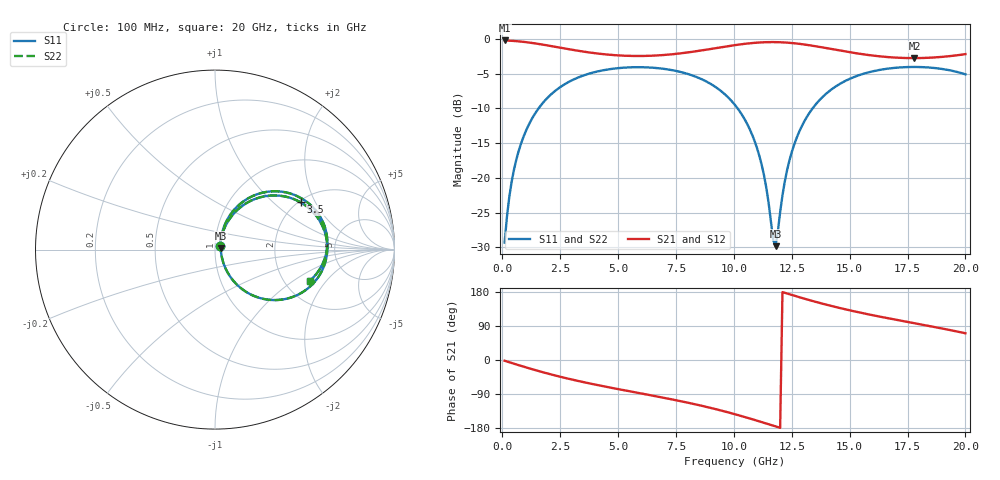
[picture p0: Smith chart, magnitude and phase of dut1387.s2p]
! Touchstone file exported from HFSS 2026.1.0
!  File:  C:/ffzhzh/LocalFiles/Ansys_Project_Files/temp_train_TSV_RDL_1387_1783349194_4416.aedt
!  Generated:  10:59:31 PM Jul  6, 2026
!  Design:  TSV_RDL
!  Project:  temp_train_TSV_RDL_1387_1783349194_4416
! Variables:
!  h_bsmrdl = 3.89um
!  h_ox = 20um
!  h_rdl = 5um
!  h_sub = 70.39um
!  h_tmrdl = 4.61um
!  h_tsv = 70.39um
!  h_via = 3um
!  l_bsmrdl = 173.4um
!  l_sub = 4987.08um
!  l_tmrdl = 997.16um
!  m_sub = 200um
!  pitch = 54.25um
!  r_tsv = 13.09um
!  s_tmrdl = 10um
!  w_bsmrdl = 11.43um
!  w_sub = 500um
!  w_tmrdl = 14.65um
!  x_tsv_center1 = 1004.485um
!  x_tsv_center2 = 1189.315um
!  x_tsv_center3 = 2201.125um
!  x_tsv_center4 = 2385.955um
!  x_tsv_center5 = 3397.765um
!  x_tsv_center6 = 3582.595um
# GHz S MA R 50.000000
! Terminal data exported
! Port[1] = TM_RDL1_1_T1
! Port[2] = TM_RDL5_1_T1
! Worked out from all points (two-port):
!   200 points, 100 MHz to 20 GHz, reference 50 ohm
!   highest |S21| = -0.23 dB at 100 MHz (marker M1); lowest = -2.8 dB at 17.8 GHz (marker M2)
!   |S21| within 3 dB of the highest: start of sweep to end of sweep
!   lowest |S11| = -29.8 dB at 11.8 GHz (marker M3), VSWR 1.07, Z = 53.3 + j0.708 ohm
!   |S11| at or under -10 dB: start of sweep to 1.568 GHz; 10.16 GHz to 13.4 GHz (3.239 GHz wide, 27.5 % of centre)
!   |S22| runs from -29.8 to -4.0 dB; largest |S21 - S12| = 1.6e-14
!   S11 on the Smith chart (normalised r, x): 100 MHz: 1.05, +0.05; 3.5 GHz: 2.05, +1.54; 20 GHz: 2.73, -1.37
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0.1  0.03426 39.9  0.9742 -2.0  0.9742 -2.0  0.03426 39.9
! Gamma 0 0 0 0
! Port Impedance 50 0 50 0
0.3  0.07247 62.5  0.971 -5.9  0.971 -5.9  0.07247 62.5
0.5  0.1137 66.2  0.9662 -9.7  0.9662 -9.7  0.1137 66.2
1.1  0.233 62.0  0.9439 -20.9  0.9439 -20.9  0.233 62.0
2.1  0.398 47.9  0.8884 -38.0  0.8884 -38.0  0.398 47.9
3.5  0.545 28.9  0.8101 -58.3  0.8101 -58.3  0.545 28.9
5.1  0.618 10.0  0.7591 -78.0  0.7591 -78.0  0.618 10.0
6.8  0.6139 -8.8  0.762 -97.6  0.762 -97.6  0.6139 -8.8
8.7  0.5046 -31.7  0.8306 -122.0  0.8306 -122.0  0.5047 -31.6
10.1  0.3264 -50.9  0.9044 -144.0  0.9044 -144.0  0.3264 -50.9
11.1  0.1444 -61.2  0.9419 -161.9  0.9419 -161.9  0.1444 -61.1
11.4  0.08539 -57.5  0.9469 -167.6  0.9469 -167.6  0.08545 -57.4
11.7  0.03581 -21.9  0.9482 -173.2  0.9482 -173.2  0.03595 -21.8
11.8  0.03228 11.9  0.9478 -175.1  0.9478 -175.1  0.03243 11.8
12.1  0.07498 62.5  0.9441 179.2  0.9441 179.2  0.07504 62.4
12.4  0.1334 68.4  0.9368 173.6  0.9368 173.6  0.1335 68.3
12.8  0.2106 66.4  0.9223 166.2  0.9223 166.2  0.2106 66.4
13.4  0.3161 59.2  0.8926 155.7  0.8926 155.7  0.3161 59.1
14.8  0.4972 40.3  0.8126 134.0  0.8126 134.0  0.4972 40.3
16.7  0.6124 17.9  0.7387 109.8  0.7387 109.8  0.6125 17.9
17.8  0.6281 6.1  0.7271 97.1  0.7271 97.1  0.6281 6.1
20  0.5555 -18.2  0.7765 70.5  0.7765 70.5  0.5555 -18.3
